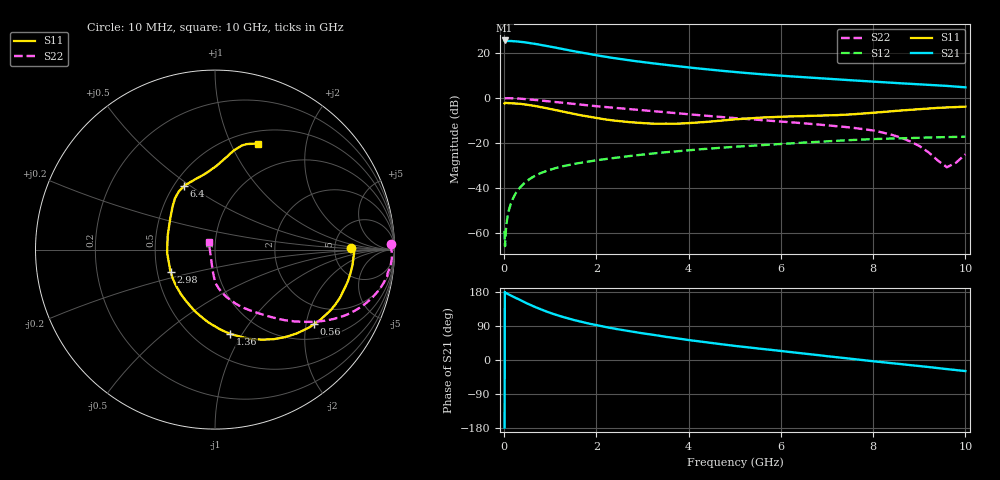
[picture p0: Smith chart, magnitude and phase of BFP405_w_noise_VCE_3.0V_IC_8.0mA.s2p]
! Infineon Technologies  Discrete & RF Semiconductors
! BFP405
! VCE =  3.0 V,  IC =  8.0 mA
! Common Emitter S-Parameters:  Jan 2016
# GHz  S  MA  R  50
!  f  S11  S21  S12  S22
! GHz  MAG  ANG  MAG  ANG  MAG  ANG  MAG  ANG
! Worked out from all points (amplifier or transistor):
!   233 points, 10 MHz to 10 GHz, reference 50 ohm
!   highest |S21| = 25.6 dB at 10 MHz (marker M1)
!   |S21| within 3 dB of that: start of sweep to 1.064 GHz
!   unconditionally stable (mu >= 1): start of sweep to 18.82 MHz; 2.9 GHz to end of sweep
!   at 200 MHz: K = 0.12, MSG = 34.8 dB, |S12| = -44.4 dB
!   at 1.74 GHz: K = 0.70, MSG = 24.3 dB, |S12| = -28.6 dB
!   at 10 GHz: K = 1.39, MAG = 7.3 dB, |S12| = -17.3 dB
!   lowest NFmin = 1.48 dB at 900 MHz
!   S11 on the Smith chart (normalised r, x): 10 MHz: 7.29, +0.23; 560 MHz: 1.40, -2.22; 1.36 GHz: 0.73, -0.88; 2.98 GHz: 0.59, -0.16; 6.4 GHz: 0.56, +0.47; 10 GHz: 0.64, +1.28
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0.01  0.7591 0.5  19.04 -178.2  0.0011 -16.0  0.9797 1.8
0.02  0.7752 -1.1  18.83 177.6  0.0005 86.8  0.9817 0.1
0.08  0.771 -5.5  18.6 174.3  0.0025 87.2  0.9867 -2.1
0.24  0.7536 -16.4  18.27 164.4  0.0072 81.9  0.9723 -7.3
0.4  0.7293 -27.2  17.59 154.8  0.0116 77.5  0.9538 -11.8
0.56  0.6901 -37.1  16.66 145.8  0.0158 73.2  0.9246 -15.9
0.7  0.6534 -45.5  15.8 138.4  0.0191 70.1  0.8959 -19.2
0.9  0.5965 -56.8  14.53 128.7  0.0233 66.2  0.8523 -23.4
1.1  0.5411 -67.3  13.27 120.2  0.0271 63.0  0.81 -27.0
1.36  0.4751 -79.9  11.76 110.6  0.0314 59.7  0.758 -30.8
1.68  0.4086 -94.8  10.19 100.5  0.0362 56.7  0.7015 -34.8
1.88  0.374 -104.0  9.353 94.9  0.0391 55.1  0.6705 -36.9
2.2  0.3314 -118.3  8.239 87.0  0.0435 53.0  0.6264 -39.9
2.98  0.2767 -153.3  6.329 70.8  0.0544 48.2  0.5352 -46.6
3.4  0.2659 -171.9  5.607 63.3  0.0603 45.5  0.4903 -50.1
4  0.2749 163.5  4.775 52.6  0.0685 41.5  0.4325 -55.4
5.1  0.3385 134.1  3.7 35.9  0.0829 33.7  0.3494 -65.4
6.4  0.3927 116.1  2.939 18.4  0.1 24.8  0.2772 -75.4
6.8  0.4013 109.2  2.759 13.0  0.1055 21.7  0.2561 -78.5
8.4  0.5052 84.3  2.176 -8.3  0.1248 7.8  0.1514 -92.4
9.6  0.6142 73.2  1.852 -24.0  0.1344 -2.1  0.0286 -164.8
10  0.6383 67.8  1.722 -29.2  0.1369 -5.0  0.0558 130.0
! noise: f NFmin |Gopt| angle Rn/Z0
0.9  1.48  0.25  8  0.32
1.8  1.74  0.19  10  0.3
2.4  1.86  0.16  14  0.3
3  1.88  0.12  33  0.28
4  2.05  0.03  -6  0.27
5  2.41  0.06  -110  0.26
